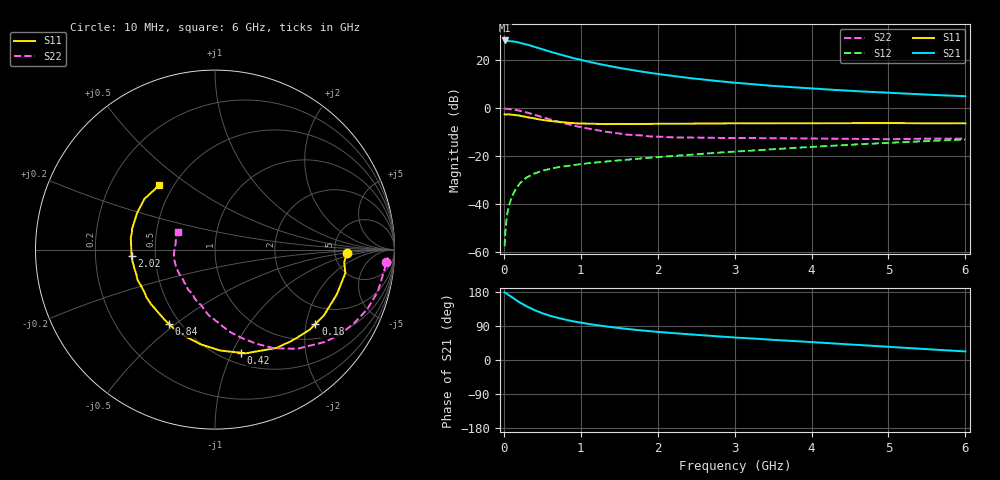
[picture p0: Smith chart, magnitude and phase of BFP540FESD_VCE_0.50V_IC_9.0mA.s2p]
! Infineon Technologies  Discrete & RF Semiconductors
! BFP540FESD
! VCE = 0.50 V,  IC =  9.0 mA
! Common Emitter S-Parameters:  Nov 2015
# GHz  S  MA  R  50
!  f  S11  S21  S12  S22
! GHz  MAG  ANG  MAG  ANG  MAG  ANG  MAG  ANG
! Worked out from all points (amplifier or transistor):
!   210 points, 10 MHz to 6 GHz, reference 50 ohm
!   highest |S21| = 28.1 dB at 10 MHz (marker M1)
!   |S21| within 3 dB of that: start of sweep to 433.7 MHz
!   unconditionally stable (mu >= 1): 2.209 GHz to end of sweep
!   at 185 MHz: K = 0.16, MSG = 29.9 dB, |S12| = -32.5 dB
!   at 1.52 GHz: K = 0.83, MSG = 19.2 dB, |S12| = -21.8 dB
!   at 6 GHz: K = 1.20, MAG = 6.3 dB, |S12| = -13.2 dB
!   S11 on the Smith chart (normalised r, x): 10 MHz: 6.53, -0.47; 180 MHz: 1.41, -2.27; 420 MHz: 0.61, -1.08; 840 MHz: 0.44, -0.48; 2.02 GHz: 0.36, -0.03; 6 GHz: 0.42, +0.39
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0.01  0.7355 -1.3  25.51 178.4  0.0013 85.9  0.9552 -4.2
0.02  0.7231 -5.6  24.66 177.4  0.0026 91.2  0.9626 -2.9
0.05  0.7379 -10.1  24.93 173.3  0.0069 87.0  0.9498 -7.2
0.1  0.7232 -20.2  24.51 166.1  0.0133 81.2  0.9366 -14.5
0.15  0.7089 -31.2  24.06 159.4  0.0196 76.9  0.9108 -21.4
0.18  0.6963 -36.5  23.41 155.4  0.0231 73.3  0.8883 -25.4
0.24  0.6705 -47.2  22.23 148.1  0.0299 67.7  0.847 -33.1
0.3  0.6462 -58.0  21 141.2  0.0354 64.0  0.7999 -40.0
0.42  0.5923 -76.0  18.35 129.9  0.044 57.7  0.7022 -51.8
0.5  0.5633 -87.0  16.77 123.3  0.0488 54.4  0.6408 -59.1
0.6  0.5335 -98.7  14.89 116.7  0.0532 51.4  0.5731 -66.2
0.7  0.512 -108.4  13.41 111.3  0.0576 49.5  0.519 -72.6
0.84  0.4877 -121.5  11.62 104.7  0.0618 47.4  0.4533 -81.2
1.02  0.4702 -134.1  9.845 97.8  0.0677 45.8  0.3903 -90.5
1.2  0.4651 -145.2  8.471 92.0  0.0724 45.0  0.3446 -99.4
1.42  0.4598 -155.3  7.228 86.2  0.0784 44.2  0.304 -109.7
2.02  0.4664 -175.9  5.046 73.9  0.0942 43.7  0.2504 -133.4
2.6  0.4738 172.3  3.878 65.0  0.1101 42.9  0.239 -150.7
3.1  0.4757 164.5  3.254 58.3  0.1249 41.8  0.2353 -159.0
4.1  0.4793 153.6  2.479 46.0  0.1567 38.0  0.229 -174.7
5.1  0.4816 142.8  2.028 33.5  0.1898 31.5  0.2226 169.9
6  0.4767 130.8  1.752 22.6  0.2191 25.0  0.2288 155.0
